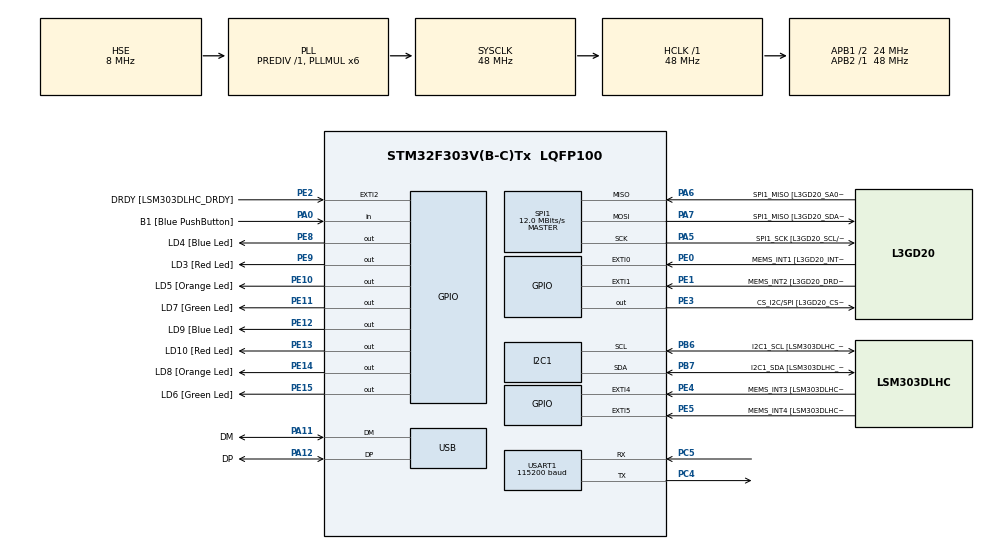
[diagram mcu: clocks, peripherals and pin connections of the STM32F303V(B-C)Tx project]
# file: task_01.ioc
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I2C1.Timing=0x2000090E
I2C1.Timing-I2C=0x2000090E
Mcu.Family=STM32F3
Mcu.Name=STM32F303V(B-C)Tx
Mcu.Package=LQFP100
NVIC.PriorityGroup=NVIC_PRIORITYGROUP_0
PA0.GPIO_Label=B1 [Blue PushButton]
PA0.Signal=GPIO_Input
PA11.GPIO_Label=DM
PA11.Mode=Device
PA11.Signal=USB_DM
PA12.GPIO_Label=DP
PA12.Mode=Device
PA12.Signal=USB_DP
PA13.GPIO_Label=SWDIO
PA13.Mode=Serial_Wire
PA13.Signal=SYS_JTMS-SWDIO
PA14.GPIO_Label=SWCLK
PA14.Mode=Serial_Wire
PA14.Signal=SYS_JTCK-SWCLK
PA5.GPIO_Label=SPI1_SCK [L3GD20_SCL/SPC]
PA5.Mode=Full_Duplex_Master
PA5.Signal=SPI1_SCK
PA6.GPIO_Label=SPI1_MISO [L3GD20_SA0/SDO]
PA6.Mode=Full_Duplex_Master
PA6.Signal=SPI1_MISO
PA7.GPIO_Label=SPI1_MISO [L3GD20_SDA/SDI/SDO]
PA7.Mode=Full_Duplex_Master
PA7.Signal=SPI1_MOSI
PB3.GPIO_Label=SWO
PB3.Signal=SYS_JTDO-TRACESWO
PB6.GPIO_Label=I2C1_SCL [LSM303DLHC_SCL]
PB6.GPIO_Pu=GPIO_PULLUP
PB6.Mode=I2C
PB6.Signal=I2C1_SCL
PB7.GPIO_Label=I2C1_SDA [LSM303DLHC_SDA]
PB7.GPIO_Pu=GPIO_PULLUP
PB7.Mode=I2C
PB7.Signal=I2C1_SDA
PC14-OSC32_IN.GPIO_Label=OSC32_IN
PC14-OSC32_IN.Signal=RCC_OSC32_IN
PC15-OSC32_OUT.GPIO_Label=OSC32_OUT
PC15-OSC32_OUT.Signal=RCC_OSC32_OUT
PC4.Mode=Asynchronous
PC4.Signal=USART1_TX
PC5.Mode=Asynchronous
PC5.Signal=USART1_RX
PE0.GPIO_Label=MEMS_INT1 [L3GD20_INT1]
PE0.GPIO_ModeDefaultEXTI=GPIO_MODE_EVT_RISING
PE0.Signal=GPXTI0
PE1.GPIO_Label=MEMS_INT2 [L3GD20_DRDY/INT2]
PE1.GPIO_ModeDefaultEXTI=GPIO_MODE_EVT_RISING
PE1.Signal=GPXTI1
PE10.GPIO_Label=LD5 [Orange Led]
PE10.Signal=GPIO_Output
PE11.GPIO_Label=LD7 [Green Led]
PE11.Signal=GPIO_Output
PE12.GPIO_Label=LD9 [Blue Led]
PE12.Signal=GPIO_Output
PE13.GPIO_Label=LD10 [Red Led]
PE13.Signal=GPIO_Output
PE14.GPIO_Label=LD8 [Orange Led]
PE14.Signal=GPIO_Output
PE15.GPIO_Label=LD6 [Green Led]
PE15.Signal=GPIO_Output
PE2.GPIO_Label=DRDY [LSM303DLHC_DRDY]
PE2.GPIO_ModeDefaultEXTI=GPIO_MODE_EVT_RISING
PE2.Signal=GPXTI2
PE3.GPIO_Label=CS_I2C/SPI [L3GD20_CS_I2C/SPI]
PE3.Signal=GPIO_Output
PE4.GPIO_Label=MEMS_INT3 [LSM303DLHC_INT1]
PE4.GPIO_ModeDefaultEXTI=GPIO_MODE_EVT_RISING
PE4.Signal=GPXTI4
PE5.GPIO_Label=MEMS_INT4 [LSM303DLHC_INT2]
PE5.GPIO_ModeDefaultEXTI=GPIO_MODE_EVT_RISING
PE5.Signal=GPXTI5
PE8.GPIO_Label=LD4 [Blue Led]
PE8.Signal=GPIO_Output
PE9.GPIO_Label=LD3 [Red Led]
PE9.Signal=GPIO_Output
PF0-OSC_IN.GPIO_Label=OSC_IN
PF0-OSC_IN.Mode=HSE-External-Clock-Source
PF0-OSC_IN.Signal=RCC_OSC_IN
PF1-OSC_OUT.GPIO_Label=OSC_OUT
PF1-OSC_OUT.Signal=RCC_OSC_OUT
ProjectManager.HeapSize=0x200
ProjectManager.StackSize=0x400
ProjectManager.TargetToolchain=CMake
RCC.AHBFreq_Value=48000000
RCC.APB1CLKDivider=RCC_HCLK_DIV2
RCC.APB1Freq_Value=24000000
RCC.APB1TimFreq_Value=48000000
RCC.APB2Freq_Value=48000000
RCC.APB2TimFreq_Value=48000000
RCC.CortexFreq_Value=48000000
RCC.HCLKFreq_Value=48000000
RCC.HSE_VALUE=8000000
RCC.HSI_VALUE=8000000
RCC.LSE_VALUE=32768
RCC.PLLMUL=RCC_PLL_MUL6
RCC.SYSCLKFreq_VALUE=48000000
RCC.SYSCLKSourceVirtual=RCC_SYSCLKSOURCE_PLLCLK
RCC.USBFreq_Value=48000000
SPI1.BaudRatePrescaler=SPI_BAUDRATEPRESCALER_4
SPI1.BaudRatePrescaler-Full_Duplex_Master=SPI_BAUDRATEPRESCALER_2
SPI1.CalculateBaudRate=12.0 MBits/s
SPI1.CalculateBaudRate-Full_Duplex_Master=24.0 MBits/s
SPI1.Direction=SPI_DIRECTION_2LINES
SPI1.Mode=SPI_MODE_MASTER
SPI1.Mode-Full_Duplex_Master=SPI_MODE_MASTER
SPI1.VirtualType=VM_MASTER
USART1.BaudRate=115200
USART1.VirtualMode-Asynchronous=VM_ASYNC
board=STM32F3DISCOVERY

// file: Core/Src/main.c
/* USER CODE BEGIN Header */
/**
  ******************************************************************************
  * @file           : main.c
  * @brief          : Main program body
  ******************************************************************************
  * @attention
  *
  * Copyright (c) 2026 STMicroelectronics.
  * All rights reserved.
  *
  * This software is licensed under terms that can be found in the LICENSE file
  * in the root directory of this software component.
  * If no LICENSE file comes with this software, it is provided AS-IS.
  *
  ******************************************************************************
  */
/* USER CODE END Header */
#include "main.h"

/* USER CODE BEGIN Includes */
#include <stdlib.h>
#include <stdio.h>
#include <string.h>
/* USER CODE END Includes */

I2C_HandleTypeDef hi2c1;

SPI_HandleTypeDef hspi1;

UART_HandleTypeDef huart1;

PCD_HandleTypeDef hpcd_USB_FS;

void SystemClock_Config(void);
static void MX_GPIO_Init(void);
static void MX_I2C1_Init(void);
static void MX_SPI1_Init(void);
static void MX_USART1_UART_Init(void);
static void MX_USB_PCD_Init(void);

/* USER CODE BEGIN 0 */
void uart_print(const char *str) {
    HAL_UART_Transmit(&huart1, (uint8_t*)str, strlen(str), HAL_MAX_DELAY);
}
/* USER CODE END 0 */

int main(void)
{

  /* MCU Configuration--------------------------------------------------------*/

  /* Reset of all peripherals, Initializes the Flash interface and the Systick. */
  HAL_Init();

  /* Configure the system clock */
  SystemClock_Config();

  /* Initialize all configured peripherals */
  MX_GPIO_Init();
  MX_I2C1_Init();
  MX_SPI1_Init();
  MX_USART1_UART_Init();
  MX_USB_PCD_Init();
  /* USER CODE BEGIN 2 */
  char print_buf[100];
  const int n = 10;
  int *malloc_array = (int*)malloc(n * sizeof(int));

  if(malloc_array != NULL){
      uart_print("malloc() successful.\r\n");
      for (int i = 0; i < n; i++){
          malloc_array[i] = i * 2;
      }
  }else{
      uart_print("malloc() failed.\r\n");
  }

  int *calloc_array = (int*)calloc(n, sizeof(int));

  if(calloc_array != NULL){
      uart_print("calloc() successful. Verifying zeroes...\r\n");
      int all_zero = 1;
      for(int i = 0; i < n; i++){
          if(calloc_array[i] != 0){
              all_zero = 0;
              break;
          }
      }
      if(all_zero){
        uart_print("All calloc() elements are initially zero.\r\n");
      }
      for(int i = 0; i < n; i++){
          calloc_array[i] = i + 1;
      }
  }else{
      uart_print("calloc() failed.\r\n");
  }

  uart_print("\r\nmalloc_array contents:\r\n");
  for(int i = 0; i < n; i++){
      sprintf(print_buf, "Index %d: %d\r\n", i, malloc_array[i]);
      uart_print(print_buf);
  }

  uart_print("\r\ncalloc_array contents:\r\n");
  for(int i = 0; i < n; i++){
      sprintf(print_buf, "Index %d: %d\r\n", i, calloc_array[i]);
      uart_print(print_buf);
  }

  free(malloc_array);
  free(calloc_array);

  malloc_array = NULL;
  calloc_array = NULL;

  uart_print("\r\nMemory successfully freed and pointers cleared.\r\n");
  /* USER CODE END 2 */

  /* Infinite loop */
  while (1)
  {

  }
}

void SystemClock_Config(void)
{
  RCC_OscInitTypeDef RCC_OscInitStruct = {0};
  RCC_ClkInitTypeDef RCC_ClkInitStruct = {0};
  RCC_PeriphCLKInitTypeDef PeriphClkInit = {0};

  /** Initializes the RCC Oscillators according to the specified parameters
  * in the RCC_OscInitTypeDef structure.
  */
  RCC_OscInitStruct.OscillatorType = RCC_OSCILLATORTYPE_HSI|RCC_OSCILLATORTYPE_HSE;
  RCC_OscInitStruct.HSEState = RCC_HSE_BYPASS;
  RCC_OscInitStruct.HSEPredivValue = RCC_HSE_PREDIV_DIV1;
  RCC_OscInitStruct.HSIState = RCC_HSI_ON;
  RCC_OscInitStruct.HSICalibrationValue = RCC_HSICALIBRATION_DEFAULT;
  RCC_OscInitStruct.PLL.PLLState = RCC_PLL_ON;
  RCC_OscInitStruct.PLL.PLLSource = RCC_PLLSOURCE_HSE;
  RCC_OscInitStruct.PLL.PLLMUL = RCC_PLL_MUL6;
  if (HAL_RCC_OscConfig(&RCC_OscInitStruct) != HAL_OK)
  {
    Error_Handler();
  }

  /** Initializes the CPU, AHB and APB buses clocks
  */
  RCC_ClkInitStruct.ClockType = RCC_CLOCKTYPE_HCLK|RCC_CLOCKTYPE_SYSCLK
                              |RCC_CLOCKTYPE_PCLK1|RCC_CLOCKTYPE_PCLK2;
  RCC_ClkInitStruct.SYSCLKSource = RCC_SYSCLKSOURCE_PLLCLK;
  RCC_ClkInitStruct.AHBCLKDivider = RCC_SYSCLK_DIV1;
  RCC_ClkInitStruct.APB1CLKDivider = RCC_HCLK_DIV2;
  RCC_ClkInitStruct.APB2CLKDivider = RCC_HCLK_DIV1;

  if (HAL_RCC_ClockConfig(&RCC_ClkInitStruct, FLASH_LATENCY_1) != HAL_OK)
  {
    Error_Handler();
  }
  PeriphClkInit.PeriphClockSelection = RCC_PERIPHCLK_USB|RCC_PERIPHCLK_USART1
                              |RCC_PERIPHCLK_I2C1;
  PeriphClkInit.Usart1ClockSelection = RCC_USART1CLKSOURCE_PCLK2;
  PeriphClkInit.I2c1ClockSelection = RCC_I2C1CLKSOURCE_HSI;
  PeriphClkInit.USBClockSelection = RCC_USBCLKSOURCE_PLL;
  if (HAL_RCCEx_PeriphCLKConfig(&PeriphClkInit) != HAL_OK)
  {
    Error_Handler();
  }
}

static void MX_I2C1_Init(void)
{

  hi2c1.Instance = I2C1;
  hi2c1.Init.Timing = 0x2000090E;
  hi2c1.Init.OwnAddress1 = 0;
  hi2c1.Init.AddressingMode = I2C_ADDRESSINGMODE_7BIT;
  hi2c1.Init.DualAddressMode = I2C_DUALADDRESS_DISABLE;
  hi2c1.Init.OwnAddress2 = 0;
  hi2c1.Init.OwnAddress2Masks = I2C_OA2_NOMASK;
  hi2c1.Init.GeneralCallMode = I2C_GENERALCALL_DISABLE;
  hi2c1.Init.NoStretchMode = I2C_NOSTRETCH_DISABLE;
  if (HAL_I2C_Init(&hi2c1) != HAL_OK)
  {
    Error_Handler();
  }

  /** Configure Analogue filter
  */
  if (HAL_I2CEx_ConfigAnalogFilter(&hi2c1, I2C_ANALOGFILTER_ENABLE) != HAL_OK)
  {
    Error_Handler();
  }

  /** Configure Digital filter
  */
  if (HAL_I2CEx_ConfigDigitalFilter(&hi2c1, 0) != HAL_OK)
  {
    Error_Handler();
  }

}

static void MX_SPI1_Init(void)
{

  /* SPI1 parameter configuration*/
  hspi1.Instance = SPI1;
  hspi1.Init.Mode = SPI_MODE_MASTER;
  hspi1.Init.Direction = SPI_DIRECTION_2LINES;
  hspi1.Init.DataSize = SPI_DATASIZE_4BIT;
  hspi1.Init.CLKPolarity = SPI_POLARITY_LOW;
  hspi1.Init.CLKPhase = SPI_PHASE_1EDGE;
  hspi1.Init.NSS = SPI_NSS_SOFT;
  hspi1.Init.BaudRatePrescaler = SPI_BAUDRATEPRESCALER_4;
  hspi1.Init.FirstBit = SPI_FIRSTBIT_MSB;
  hspi1.Init.TIMode = SPI_TIMODE_DISABLE;
  hspi1.Init.CRCCalculation = SPI_CRCCALCULATION_DISABLE;
  hspi1.Init.CRCPolynomial = 7;
  hspi1.Init.CRCLength = SPI_CRC_LENGTH_DATASIZE;
  hspi1.Init.NSSPMode = SPI_NSS_PULSE_ENABLE;
  if (HAL_SPI_Init(&hspi1) != HAL_OK)
  {
    Error_Handler();
  }

}

static void MX_USART1_UART_Init(void)
{

  huart1.Instance = USART1;
  huart1.Init.BaudRate = 115200;
  huart1.Init.WordLength = UART_WORDLENGTH_8B;
  huart1.Init.StopBits = UART_STOPBITS_1;
  huart1.Init.Parity = UART_PARITY_NONE;
  huart1.Init.Mode = UART_MODE_TX_RX;
  huart1.Init.HwFlowCtl = UART_HWCONTROL_NONE;
  huart1.Init.OverSampling = UART_OVERSAMPLING_16;
  huart1.Init.OneBitSampling = UART_ONE_BIT_SAMPLE_DISABLE;
  huart1.AdvancedInit.AdvFeatureInit = UART_ADVFEATURE_NO_INIT;
  if (HAL_UART_Init(&huart1) != HAL_OK)
  {
    Error_Handler();
  }

}

static void MX_USB_PCD_Init(void)
{

  hpcd_USB_FS.Instance = USB;
  hpcd_USB_FS.Init.dev_endpoints = 8;
  hpcd_USB_FS.Init.speed = PCD_SPEED_FULL;
  hpcd_USB_FS.Init.phy_itface = PCD_PHY_EMBEDDED;
  hpcd_USB_FS.Init.low_power_enable = DISABLE;
  hpcd_USB_FS.Init.battery_charging_enable = DISABLE;
  if (HAL_PCD_Init(&hpcd_USB_FS) != HAL_OK)
  {
    Error_Handler();
  }

}

static void MX_GPIO_Init(void)
{
  GPIO_InitTypeDef GPIO_InitStruct = {0};

  /* GPIO Ports Clock Enable */
  __HAL_RCC_GPIOE_CLK_ENABLE();
  __HAL_RCC_GPIOC_CLK_ENABLE();
  __HAL_RCC_GPIOF_CLK_ENABLE();
  __HAL_RCC_GPIOA_CLK_ENABLE();
  __HAL_RCC_GPIOB_CLK_ENABLE();

  /*Configure GPIO pin Output Level */
  HAL_GPIO_WritePin(GPIOE, CS_I2C_SPI_Pin|LD4_Pin|LD3_Pin|LD5_Pin
                          |LD7_Pin|LD9_Pin|LD10_Pin|LD8_Pin
                          |LD6_Pin, GPIO_PIN_RESET);

  /*Configure GPIO pins : DRDY_Pin MEMS_INT3_Pin MEMS_INT4_Pin MEMS_INT1_Pin
                           MEMS_INT2_Pin */
  GPIO_InitStruct.Pin = DRDY_Pin|MEMS_INT3_Pin|MEMS_INT4_Pin|MEMS_INT1_Pin
                          |MEMS_INT2_Pin;
  GPIO_InitStruct.Mode = GPIO_MODE_EVT_RISING;
  GPIO_InitStruct.Pull = GPIO_NOPULL;
  HAL_GPIO_Init(GPIOE, &GPIO_InitStruct);

  /*Configure GPIO pins : CS_I2C_SPI_Pin LD4_Pin LD3_Pin LD5_Pin
                           LD7_Pin LD9_Pin LD10_Pin LD8_Pin
                           LD6_Pin */
  GPIO_InitStruct.Pin = CS_I2C_SPI_Pin|LD4_Pin|LD3_Pin|LD5_Pin
                          |LD7_Pin|LD9_Pin|LD10_Pin|LD8_Pin
                          |LD6_Pin;
  GPIO_InitStruct.Mode = GPIO_MODE_OUTPUT_PP;
  GPIO_InitStruct.Pull = GPIO_NOPULL;
  GPIO_InitStruct.Speed = GPIO_SPEED_FREQ_LOW;
  HAL_GPIO_Init(GPIOE, &GPIO_InitStruct);

  /*Configure GPIO pin : B1_Pin */
  GPIO_InitStruct.Pin = B1_Pin;
  GPIO_InitStruct.Mode = GPIO_MODE_INPUT;
  GPIO_InitStruct.Pull = GPIO_NOPULL;
  HAL_GPIO_Init(B1_GPIO_Port, &GPIO_InitStruct);

}

void Error_Handler(void)
{
  __disable_irq();
  while (1)
  {
  }
}
